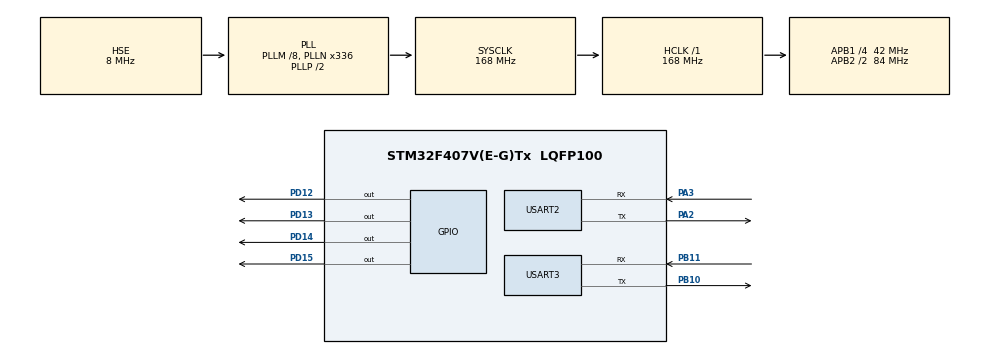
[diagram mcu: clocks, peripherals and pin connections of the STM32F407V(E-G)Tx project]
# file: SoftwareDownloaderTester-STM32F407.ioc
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Mcu.Family=STM32F4
Mcu.Name=STM32F407V(E-G)Tx
Mcu.Package=LQFP100
NVIC.PriorityGroup=NVIC_PRIORITYGROUP_0
NVIC.USART2_IRQn=true\:0\:0\:false\:false\:true\:true\:true
NVIC.USART3_IRQn=true\:0\:0\:false\:false\:true\:true\:true
PA13.Mode=Serial_Wire
PA13.Signal=SYS_JTMS-SWDIO
PA14.Mode=Serial_Wire
PA14.Signal=SYS_JTCK-SWCLK
PA2.Mode=Asynchronous
PA2.Signal=USART2_TX
PA3.Mode=Asynchronous
PA3.Signal=USART2_RX
PB10.Mode=Asynchronous
PB10.Signal=USART3_TX
PB11.Mode=Asynchronous
PB11.Signal=USART3_RX
PC14-OSC32_IN.Mode=LSE-External-Oscillator
PC14-OSC32_IN.Signal=RCC_OSC32_IN
PC15-OSC32_OUT.Mode=LSE-External-Oscillator
PC15-OSC32_OUT.Signal=RCC_OSC32_OUT
PD12.Signal=GPIO_Output
PD13.Signal=GPIO_Output
PD14.Signal=GPIO_Output
PD15.Signal=GPIO_Output
PH0-OSC_IN.Mode=HSE-External-Oscillator
PH0-OSC_IN.Signal=RCC_OSC_IN
PH1-OSC_OUT.Mode=HSE-External-Oscillator
PH1-OSC_OUT.Signal=RCC_OSC_OUT
ProjectManager.HeapSize=0x200
ProjectManager.StackSize=0x400
ProjectManager.TargetToolchain=STM32CubeIDE
RCC.48MHZClocksFreq_Value=48000000
RCC.AHBFreq_Value=168000000
RCC.APB1CLKDivider=RCC_HCLK_DIV4
RCC.APB1Freq_Value=42000000
RCC.APB1TimFreq_Value=84000000
RCC.APB2CLKDivider=RCC_HCLK_DIV2
RCC.APB2Freq_Value=84000000
RCC.APB2TimFreq_Value=168000000
RCC.CortexFreq_Value=168000000
RCC.HCLKFreq_Value=168000000
RCC.HSE_VALUE=8000000
RCC.HSI_VALUE=16000000
RCC.PLLM=8
RCC.PLLN=336
RCC.PLLQ=7
RCC.PLLSourceVirtual=RCC_PLLSOURCE_HSE
RCC.SYSCLKFreq_VALUE=168000000
RCC.SYSCLKSource=RCC_SYSCLKSOURCE_PLLCLK
RCC.VCOOutputFreq_Value=336000000
USART2.VirtualMode=VM_ASYNC
USART3.VirtualMode=VM_ASYNC
VP_CRC_VS_CRC.Mode=CRC_Activate
board=STM32F407G-DISC1

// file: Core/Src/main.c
/* USER CODE BEGIN Header */
/**
  ******************************************************************************
  * @file           : main.c
  * @brief          : Main program body
  ******************************************************************************
  * @attention
  *
  * <h2><center>&copy; Copyright (c) 2020 STMicroelectronics.
  * All rights reserved.</center></h2>
  *
  * This software component is licensed by ST under Ultimate Liberty license
  * SLA0044, the "License"; You may not use this file except in compliance with
  * the License. You may obtain a copy of the License at:
  *                             www.st.com/SLA0044
  *
  ******************************************************************************
  */
/* USER CODE END Header */
#include "main.h"

/* USER CODE BEGIN PTD */
#include <stdarg.h>
#include <string.h>
#include <stdint.h>
/* USER CODE END PTD */

CRC_HandleTypeDef hcrc;

UART_HandleTypeDef huart2;
UART_HandleTypeDef huart3;

void SystemClock_Config(void);
static void MX_GPIO_Init(void);
static void MX_CRC_Init(void);
static void MX_USART2_UART_Init(void);
static void MX_USART3_UART_Init(void);

/* USER CODE BEGIN 0 */
#define BL_DEBUG_MSG_EN
#define D_UART &huart2
uint32_t i = 0;
uint8_t *dataArray = (uint8_t*)0x08008000;
uint32_t uartDataRx[3] = {0};
uint32_t uartDataTx[3] = {0};
uint32_t payloadLen = 0;
uint32_t lenOfHexFile(void);
uint32_t calculateAuthenticationKEY(uint32_t);
static void printmsg(char *format,...);

/* USER CODE END 0 */

int main(void)
{

  /* MCU Configuration--------------------------------------------------------*/

  /* Reset of all peripherals, Initializes the Flash interface and the Systick. */
  HAL_Init();

  /* Configure the system clock */
  SystemClock_Config();

  /* Initialize all configured peripherals */
  MX_GPIO_Init();
  MX_CRC_Init();
  MX_USART2_UART_Init();
  MX_USART3_UART_Init();

  /* Infinite loop */
  while (1)
  {

    /* USER CODE BEGIN 3 */
	  HAL_UART_Transmit(&huart2, "HELLO\r\r\n\r", 5, 1000);
	 	  printmsg("\r\nPress user Button to Program Device\r\n");

	 	  if(HAL_GPIO_ReadPin(GPIOA, GPIO_PIN_0) == GPIO_PIN_SET)
	 	  {
	 		  printmsg("Sending Connection Request\r\n");
	 		  uint32_t temp = 0;
	 		  HAL_UART_Transmit(&huart3, &temp,  4, HAL_MAX_DELAY);
	 		  printmsg("Waiting for the Authentication Key\r\n");
	 		  payloadLen = lenOfHexFile();
	 		  HAL_UART_Receive(&huart3, &uartDataRx[0], 4, HAL_MAX_DELAY);
	 		  uint32_t returnKEY = calculateAuthenticationKEY(uartDataRx[0]);
	 		  printmsg("Authentication Key Received\r\n");
	 		  uartDataTx[0] = returnKEY;
	 		  HAL_Delay(1000);
	 		  HAL_UART_Transmit(&huart3, &uartDataTx[0], 4, HAL_MAX_DELAY);
	 		  printmsg("Waiting for the reply from Downloader\r\n");
	 		  HAL_UART_Receive(&huart3, &uartDataRx[1], 4, HAL_MAX_DELAY);
	 		  if(uartDataRx[1] == 0xFFFFFFFF)
	 		  {
	 			  printmsg("Tester is Successfully Verified\r\n");
	 			  uint32_t crc_Value = HAL_CRC_Calculate(&hcrc, dataArray, payloadLen);

	 			  uartDataTx[1] = crc_Value;

	 			  uartDataTx[2] = payloadLen;

	 			  printmsg("Sending CRC Value and Payload Length\r\n");

	 			  HAL_Delay(1000);

	 			  HAL_UART_Transmit(&huart3, &uartDataTx[1], 8, HAL_MAX_DELAY);

	 			  printmsg("Sending Payload\r\n");

	 			  HAL_Delay(1000);

	 			  uint8_t status = HAL_UART_Transmit(&huart3, dataArray, payloadLen, HAL_MAX_DELAY);

	 			  if(status == HAL_OK)
	 			  {
	 				  printmsg("Sending is successfully\r\n");

	 				  HAL_GPIO_WritePin(GPIOD, GPIO_PIN_12, GPIO_PIN_SET);// green led

	 				  HAL_GPIO_WritePin(GPIOD, GPIO_PIN_13, GPIO_PIN_RESET);
	 			  }

	 			  else
	 			  {
	 				  printmsg("Sending is failed\r\n");

	 				  HAL_GPIO_WritePin(GPIOD, GPIO_PIN_13, GPIO_PIN_SET);// Red led

	 				  HAL_GPIO_WritePin(GPIOD, GPIO_PIN_12, GPIO_PIN_RESET);
	 			  }
	 		  }
	 	  }

  }
  /* USER CODE END 3 */
}

void SystemClock_Config(void)
{
  RCC_OscInitTypeDef RCC_OscInitStruct = {0};
  RCC_ClkInitTypeDef RCC_ClkInitStruct = {0};

  /** Configure the main internal regulator output voltage
  */
  __HAL_RCC_PWR_CLK_ENABLE();
  __HAL_PWR_VOLTAGESCALING_CONFIG(PWR_REGULATOR_VOLTAGE_SCALE1);
  /** Initializes the RCC Oscillators according to the specified parameters
  * in the RCC_OscInitTypeDef structure.
  */
  RCC_OscInitStruct.OscillatorType = RCC_OSCILLATORTYPE_HSE;
  RCC_OscInitStruct.HSEState = RCC_HSE_ON;
  RCC_OscInitStruct.PLL.PLLState = RCC_PLL_ON;
  RCC_OscInitStruct.PLL.PLLSource = RCC_PLLSOURCE_HSE;
  RCC_OscInitStruct.PLL.PLLM = 8;
  RCC_OscInitStruct.PLL.PLLN = 336;
  RCC_OscInitStruct.PLL.PLLP = RCC_PLLP_DIV2;
  RCC_OscInitStruct.PLL.PLLQ = 7;
  if (HAL_RCC_OscConfig(&RCC_OscInitStruct) != HAL_OK)
  {
    Error_Handler();
  }
  /** Initializes the CPU, AHB and APB buses clocks
  */
  RCC_ClkInitStruct.ClockType = RCC_CLOCKTYPE_HCLK|RCC_CLOCKTYPE_SYSCLK
                              |RCC_CLOCKTYPE_PCLK1|RCC_CLOCKTYPE_PCLK2;
  RCC_ClkInitStruct.SYSCLKSource = RCC_SYSCLKSOURCE_PLLCLK;
  RCC_ClkInitStruct.AHBCLKDivider = RCC_SYSCLK_DIV1;
  RCC_ClkInitStruct.APB1CLKDivider = RCC_HCLK_DIV4;
  RCC_ClkInitStruct.APB2CLKDivider = RCC_HCLK_DIV2;

  if (HAL_RCC_ClockConfig(&RCC_ClkInitStruct, FLASH_LATENCY_5) != HAL_OK)
  {
    Error_Handler();
  }
}

static void MX_CRC_Init(void)
{

  hcrc.Instance = CRC;
  if (HAL_CRC_Init(&hcrc) != HAL_OK)
  {
    Error_Handler();
  }

}

static void MX_USART2_UART_Init(void)
{

  huart2.Instance = USART2;
  huart2.Init.BaudRate = 115200;
  huart2.Init.WordLength = UART_WORDLENGTH_8B;
  huart2.Init.StopBits = UART_STOPBITS_1;
  huart2.Init.Parity = UART_PARITY_NONE;
  huart2.Init.Mode = UART_MODE_TX_RX;
  huart2.Init.HwFlowCtl = UART_HWCONTROL_NONE;
  huart2.Init.OverSampling = UART_OVERSAMPLING_16;
  if (HAL_UART_Init(&huart2) != HAL_OK)
  {
    Error_Handler();
  }

}

static void MX_USART3_UART_Init(void)
{

  huart3.Instance = USART3;
  huart3.Init.BaudRate = 115200;
  huart3.Init.WordLength = UART_WORDLENGTH_8B;
  huart3.Init.StopBits = UART_STOPBITS_1;
  huart3.Init.Parity = UART_PARITY_NONE;
  huart3.Init.Mode = UART_MODE_TX_RX;
  huart3.Init.HwFlowCtl = UART_HWCONTROL_NONE;
  huart3.Init.OverSampling = UART_OVERSAMPLING_16;
  if (HAL_UART_Init(&huart3) != HAL_OK)
  {
    Error_Handler();
  }

}

static void MX_GPIO_Init(void)
{
  GPIO_InitTypeDef GPIO_InitStruct = {0};

  /* GPIO Ports Clock Enable */
  __HAL_RCC_GPIOC_CLK_ENABLE();
  __HAL_RCC_GPIOH_CLK_ENABLE();
  __HAL_RCC_GPIOA_CLK_ENABLE();
  __HAL_RCC_GPIOB_CLK_ENABLE();
  __HAL_RCC_GPIOD_CLK_ENABLE();

  /*Configure GPIO pin Output Level */
  HAL_GPIO_WritePin(GPIOD, GPIO_PIN_12|GPIO_PIN_13|GPIO_PIN_14|GPIO_PIN_15, GPIO_PIN_RESET);

  /*Configure GPIO pins : PD12 PD13 PD14 PD15 */
  GPIO_InitStruct.Pin = GPIO_PIN_12|GPIO_PIN_13|GPIO_PIN_14|GPIO_PIN_15;
  GPIO_InitStruct.Mode = GPIO_MODE_OUTPUT_PP;
  GPIO_InitStruct.Pull = GPIO_NOPULL;
  GPIO_InitStruct.Speed = GPIO_SPEED_FREQ_LOW;
  HAL_GPIO_Init(GPIOD, &GPIO_InitStruct);

}

/* USER CODE BEGIN 4 */
uint32_t lenOfHexFile(void)
{
	uint32_t *tempValue = (uint32_t*)dataArray;
	uint32_t len = 0;
	while(*tempValue != 0xFFFFFFFF)
	{
		len = len + 1;
		tempValue++;
	}
	return (len * 4);
}
uint32_t calculateAuthenticationKEY(uint32_t key)
{
	uint32_t returnValue = key ^ 0xAABBCCDD;
	return returnValue;

}
void printmsg(char *format,...)
{
	//uint32_t str;
#ifdef BL_DEBUG_MSG_EN
	char str[80];
	/*Extract the the argument list using VA apis */
	va_list args;
	va_start(args, format);
	vsprintf(str, format,args);
	 HAL_UART_Transmit(D_UART,(uint8_t *)str, strlen(str),200);

	va_end(args);
#endif
}

/* USER CODE END 4 */

void Error_Handler(void)
{
}

/************************ (C) COPYRIGHT STMicroelectronics *****END OF FILE****/
